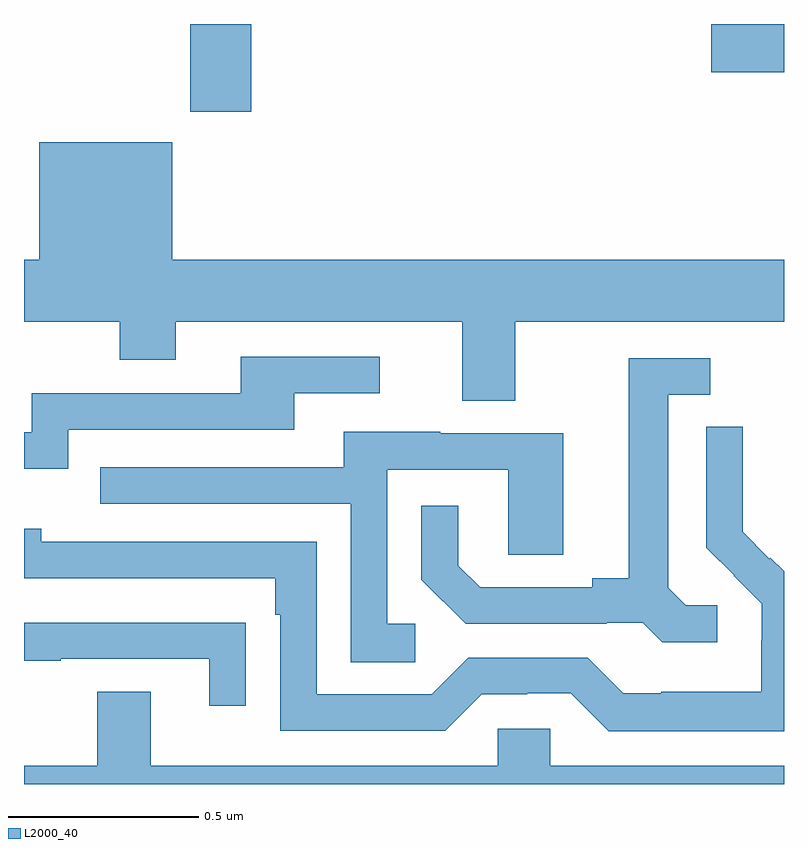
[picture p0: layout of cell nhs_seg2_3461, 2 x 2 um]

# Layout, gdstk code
import gdstk
lib = gdstk.Library(unit=1e-6, precision=1e-09)
def R(c, l, rs):  # rectangles x0, y0, x1, y1
    for r in rs: c.add(gdstk.rectangle(r[:2], r[2:], *l))
def P(c, l, *ps):  # polygons
    for p in ps: c.add(gdstk.Polygon(p, *l))
L2000_40 = (2000, 40)

nhs_seg2_3461 = lib.new_cell('nhs_seg2_3461')
R(nhs_seg2_3461, L2000_40, [(154.438,601.569,154.598,601.8), (155.808,601.673,156,601.8)])
P(nhs_seg2_3461, L2000_40, [(155.293,601.016),(156,601.016),(156,601.18),(154.39,601.18),(154.39,601.489),(154.04,601.489),(154.04,601.18),(154,601.18),(154,601.016),(154.252,601.016),(154.252,600.917),(154.399,600.917),(154.399,601.016),(155.153,601.016),(155.153,600.808),(155.293,600.808)],
  [(154.116,600.732),(154.711,600.732),(154.711,600.828),(154.936,600.828),(154.936,600.924),(154.571,600.924),(154.571,600.828),(154.02,600.828),(154.02,600.726),(154,600.726),(154,600.629),(154.116,600.629)],
  [(155.824,600.27),(155.742,600.27),(155.695,600.317),(155.695,600.825),(155.806,600.825),(155.806,600.921),(155.591,600.921),(155.591,600.341),(155.495,600.341),(155.495,600.318),(155.2,600.318),(155.143,600.375),(155.143,600.532),(155.046,600.532),(155.046,600.338),(155.162,600.222),(155.534,600.222),(155.534,600.225),(155.628,600.225),(155.68,600.173),(155.824,600.173)],
  [(156,600.36),(155.964,600.396),(155.961,600.393),(155.891,600.464),(155.891,600.586),(155.892,600.586),(155.892,600.74),(155.796,600.74),(155.796,600.422),(155.869,600.349),(155.868,600.348),(155.942,600.274),(155.942,600.177),(155.94,600.177),(155.94,600.043),(155.677,600.043),(155.677,600.039),(155.577,600.039),(155.484,600.132),(155.169,600.132),(155.073,600.036),(154.77,600.036),(154.77,600.438),(154.046,600.438),(154.046,600.472),(154,600.472),(154,600.342),(154.661,600.342),(154.661,600.245),(154.674,600.245),(154.674,599.94),(155.109,599.94),(155.205,600.036),(155.324,600.036),(155.324,600.039),(155.439,600.039),(155.539,599.939),(156,599.939)],
  [(155.029,600.222),(154.956,600.222),(154.956,600.627),(155.274,600.627),(155.274,600.403),(155.419,600.403),(155.419,600.723),(155.095,600.723),(155.095,600.727),(154.841,600.727),(154.841,600.633),(154.201,600.633),(154.201,600.537),(154.86,600.537),(154.86,600.121),(155.029,600.121)],
  [(154.583,600.224),(154.481,600.224),(154.481,600.225),(154,600.225),(154,600.124),(154.097,600.124),(154.097,600.129),(154.487,600.129),(154.487,600.006),(154.583,600.006)],
  [(156,599.848),(155.385,599.848),(155.385,599.946),(155.247,599.946),(155.247,599.848),(154.333,599.848),(154.333,600.043),(154.193,600.043),(154.193,599.848),(154,599.848),(154,599.8),(156,599.8)])

lib.write_gds('nhs_seg2_3461.gds')
